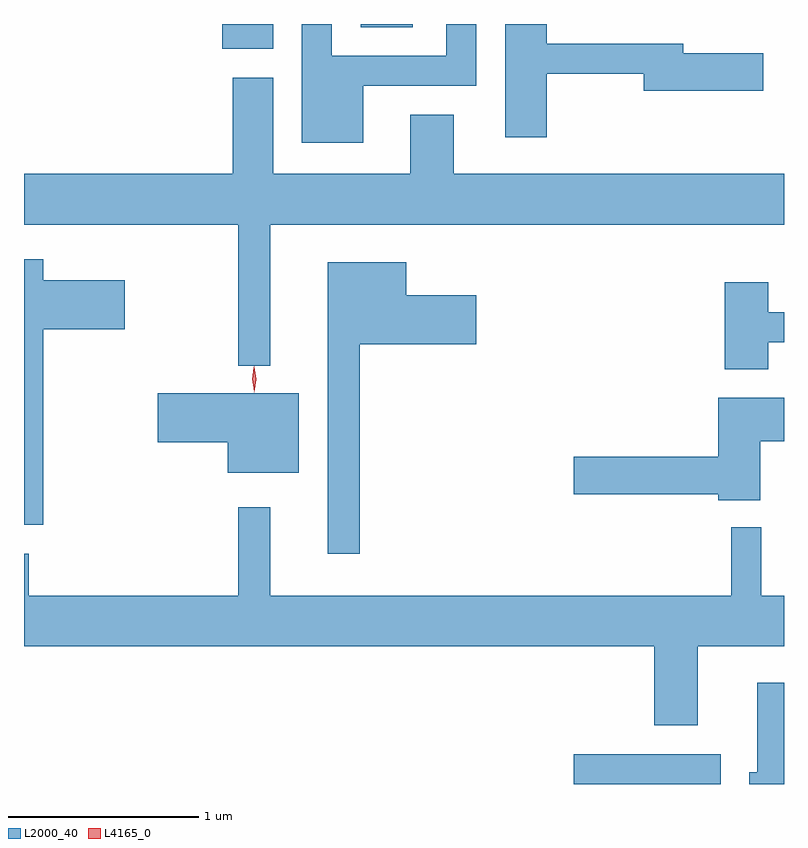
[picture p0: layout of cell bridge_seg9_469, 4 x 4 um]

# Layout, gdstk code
import gdstk
lib = gdstk.Library(unit=1e-6, precision=1e-09)
def R(c, l, rs):  # rectangles x0, y0, x1, y1
    for r in rs: c.add(gdstk.rectangle(r[:2], r[2:], *l))
def P(c, l, *ps):  # polygons
    for p in ps: c.add(gdstk.Polygon(p, *l))
L2000_40 = (2000, 40)
L4165_0 = (4165, 0)

bridge_seg9_469 = lib.new_cell('bridge_seg9_469')
R(bridge_seg9_469, L2000_40, [(470.936,1986.652,471.709,1986.809), (469.086,1990.521,469.354,1990.652), (469.816,1990.636,470.089,1990.652)])
P(bridge_seg9_469, L2000_40, [(470.794,1990.391),(471.306,1990.391),(471.306,1990.301),(471.934,1990.301),(471.934,1990.499),(471.514,1990.499),(471.514,1990.549),(470.794,1990.549),(470.794,1990.652),(470.576,1990.652),(470.576,1990.056),(470.794,1990.056)],
  [(469.829,1990.326),(470.424,1990.326),(470.424,1990.652),(470.266,1990.652),(470.266,1990.484),(469.664,1990.484),(469.664,1990.652),(469.506,1990.652),(469.506,1990.026),(469.829,1990.026)],
  [(469.339,1989.596),(472.043,1989.596),(472.043,1989.864),(470.304,1989.864),(470.304,1990.174),(470.076,1990.174),(470.076,1989.864),(469.354,1989.864),(469.354,1990.369),(469.141,1990.369),(469.141,1989.864),(468.043,1989.864),(468.043,1989.596),(469.171,1989.596),(469.171,1988.853),(469.339,1988.853)],
  [(468.144,1989.046),(468.574,1989.046),(468.574,1989.304),(468.144,1989.304),(468.144,1989.413),(468.043,1989.413),(468.043,1988.016),(468.144,1988.016)],
  [(469.809,1988.966),(470.424,1988.966),(470.424,1989.224),(470.054,1989.224),(470.054,1989.399),(469.641,1989.399),(469.641,1987.863),(469.809,1987.863)],
  [(471.959,1988.976),(472.043,1988.976),(472.043,1989.134),(471.959,1989.134),(471.959,1989.294),(471.731,1989.294),(471.731,1988.836),(471.959,1988.836)],
  [(469.489,1988.709),(468.746,1988.709),(468.746,1988.451),(469.116,1988.451),(469.116,1988.291),(469.489,1988.291)],
  [(471.919,1988.456),(472.043,1988.456),(472.043,1988.684),(471.696,1988.684),(471.696,1988.374),(470.936,1988.374),(470.936,1988.176),(471.696,1988.176),(471.696,1988.146),(471.919,1988.146)],
  [(471.589,1987.376),(472.043,1987.376),(472.043,1987.644),(471.924,1987.644),(471.924,1988.003),(471.766,1988.003),(471.766,1987.644),(469.339,1987.644),(469.339,1988.108),(469.171,1988.108),(469.171,1987.644),(468.069,1987.644),(468.069,1987.864),(468.043,1987.864),(468.043,1987.376),(471.361,1987.376),(471.361,1986.961),(471.589,1986.961)],
  [(472.043,1987.184),(471.901,1987.184),(471.901,1986.714),(471.861,1986.714),(471.861,1986.652),(472.043,1986.652)])
P(bridge_seg9_469, L4165_0, [(469.254,1988.72),(469.254,1988.721),(469.244,1988.783),(469.253,1988.846),(469.254,1988.847),(469.254,1988.846),(469.264,1988.783),(469.255,1988.721)],
  [(469.255,1988.714),(469.246,1988.782),(469.255,1988.849),(469.255,1988.85),(469.256,1988.849),(469.266,1988.782),(469.256,1988.714),(469.256,1988.714)])

lib.write_gds('bridge_seg9_469.gds')
